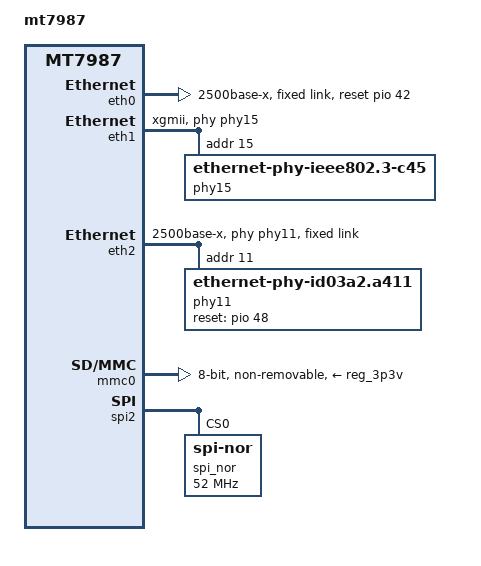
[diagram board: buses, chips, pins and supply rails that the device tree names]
// SPDX-License-Identifier: GPL-2.0

#include "mt7987a-u-boot.dtsi"
#include "mt7987-netsys-u-boot.dtsi"

/ {
	model = "mt7987";
	compatible = "mediatek,mt7987", "mediatek,mt7987-emmc-rfb";

	bl2_verify {
		bl2_compatible = "emmc";
	};
};

&eth0 {
	status = "okay";
	pinctrl-names = "default";
	pinctrl-0 = <&mdio0_pins>;
	phy-mode = "2500base-x";
	mediatek,switch = "auto";
	reset-gpios = <&pio 42 GPIO_ACTIVE_HIGH>;

	fixed-link {
		speed = <2500>;
		full-duplex;
		pause;
	};
};

&eth1 {
	status = "okay";
	pinctrl-names = "i2p5gbe-led";
	pinctrl-0 = <&i2p5gbe_led0_pins>;
	phy-mode = "xgmii";
	phy-handle = <&phy15>;

	phy15: ethernet-phy@15 {
		compatible = "ethernet-phy-ieee802.3-c45";
		reg = <15>;
		phy-mode = "xgmii";
	};
};

&eth2 {
	status = "okay";
	pinctrl-names = "default";
	pinctrl-0 = <&mdio0_pins>;
	phy-mode = "2500base-x";
	phy-handle = <&phy11>;

	fixed-link {
		speed = <2500>;
		full-duplex;
	};

	phy11: eth-phy@11 {
		compatible = "ethernet-phy-id03a2.a411";
		reg = <11>;
		phy-mode = "2500base-x";
		reset-gpios = <&pio 48 GPIO_ACTIVE_HIGH>;
		reset-assert-us = <100000>;
		reset-deassert-us = <100000>;
	};
};

&mmc0 {
	pinctrl-names = "default";
	pinctrl-0 = <&mmc_pins_default>;
	max-frequency = <48000000>;
	bus-width = <8>;
	cap-mmc-highspeed;
	cap-mmc-hw-reset;
	vmmc-supply = <&reg_3p3v>;
	vqmmc-supply = <&reg_3p3v>;
	non-removable;
	status = "okay";
};

&spi2 {
	pinctrl-names = "default";
	pinctrl-0 = <&spi2_flash_pins>;
	#address-cells = <1>;
	#size-cells = <0>;
	status = "okay";
	must_tx;
	enhance_timing;
	dma_ext;
	ipm_design;
	support_quad;
	tick_dly = <2>;
	sample_sel = <0>;

	/delete-node/ flash@0;
	spi_nor@0 {
		compatible = "jedec,spi-nor";
		reg = <0>;
		spi-max-frequency = <52000000>;
		spi-rx-bus-width = <4>;
		spi-tx-bus-width = <4>;
	};
};
